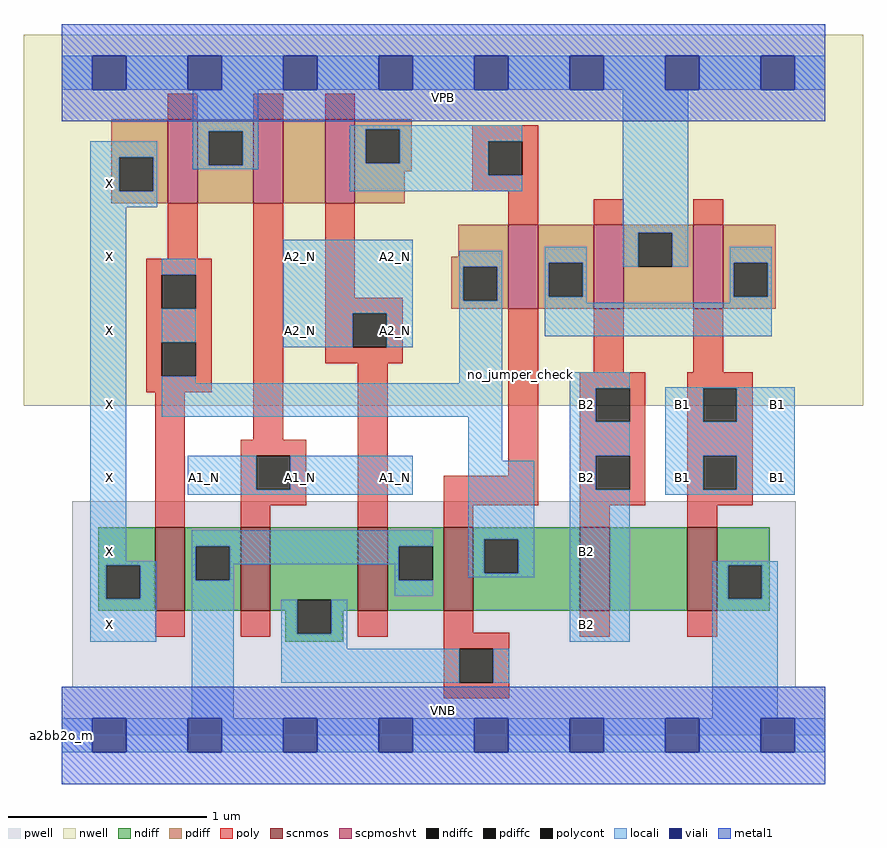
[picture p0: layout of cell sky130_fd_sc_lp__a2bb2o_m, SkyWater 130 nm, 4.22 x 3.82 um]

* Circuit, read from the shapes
.subckt sky130_fd_sc_lp__a2bb2o_m A1_N A2_N B1 B2 VGND VNB VPB VPWR X
XM1 VGND n1 X VNB sky130_fd_pr__nfet_01v8 w=0.42 l=0.15
XM2 n2 A1_N VGND VNB sky130_fd_pr__nfet_01v8 w=0.42 l=0.15
XM3 VGND A2_N n2 VNB sky130_fd_pr__nfet_01v8 w=0.42 l=0.15
XM4 n1 n2 VGND VNB sky130_fd_pr__nfet_01v8 w=0.42 l=0.15
XM5 n3 B2 n1 VNB sky130_fd_pr__nfet_01v8 w=0.42 l=0.15
XM6 VGND B1 n3 VNB sky130_fd_pr__nfet_01v8 w=0.42 l=0.15
XM7 VPWR n1 X VPB sky130_fd_pr__pfet_01v8_hvt w=0.42 l=0.15
XM8 n4 A1_N VPWR VPB sky130_fd_pr__pfet_01v8_hvt w=0.42 l=0.15
XM9 n2 A2_N n4 VPB sky130_fd_pr__pfet_01v8_hvt w=0.42 l=0.15
XM10 n5 n2 n1 VPB sky130_fd_pr__pfet_01v8_hvt w=0.42 l=0.15
XM11 VPWR B2 n5 VPB sky130_fd_pr__pfet_01v8_hvt w=0.42 l=0.15
XM12 n5 B1 VPWR VPB sky130_fd_pr__pfet_01v8_hvt w=0.42 l=0.15
.ends

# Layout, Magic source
magic
tech sky130A
magscale 1 2
<< nwell >>
rect -38 331 806 704
<< pwell >>
rect 11 49 738 235
rect 0 0 768 49
<< scnmos >>
rect 94 125 124 209
rect 180 125 210 209
rect 298 125 328 209
rect 384 125 414 209
rect 521 125 551 209
rect 629 125 659 209
<< scpmoshvt >>
rect 107 535 137 619
rect 193 535 223 619
rect 265 535 295 619
rect 449 429 479 513
rect 535 429 565 513
rect 635 429 665 513
<< ndiff >>
rect 37 171 94 209
rect 37 137 45 171
rect 79 137 94 171
rect 37 125 94 137
rect 124 190 180 209
rect 124 156 135 190
rect 169 156 180 190
rect 124 125 180 156
rect 210 136 298 209
rect 210 125 237 136
rect 225 102 237 125
rect 271 125 298 136
rect 328 190 384 209
rect 328 156 339 190
rect 373 156 384 190
rect 328 125 384 156
rect 414 197 521 209
rect 414 163 425 197
rect 459 163 521 197
rect 414 125 521 163
rect 551 125 629 209
rect 659 171 712 209
rect 659 137 670 171
rect 704 137 712 171
rect 659 125 712 137
rect 271 102 283 125
rect 225 94 283 102
<< pdiff >>
rect 50 581 107 619
rect 50 547 58 581
rect 92 547 107 581
rect 50 535 107 547
rect 137 607 193 619
rect 137 573 148 607
rect 182 573 193 607
rect 137 535 193 573
rect 223 535 265 619
rect 295 609 352 619
rect 295 575 306 609
rect 340 575 352 609
rect 295 567 352 575
rect 295 535 345 567
rect 399 481 449 513
rect 392 471 449 481
rect 392 437 404 471
rect 438 437 449 471
rect 392 429 449 437
rect 479 475 535 513
rect 479 441 490 475
rect 524 441 535 475
rect 479 429 535 441
rect 565 505 635 513
rect 565 471 580 505
rect 614 471 635 505
rect 565 429 635 471
rect 665 475 718 513
rect 665 441 676 475
rect 710 441 718 475
rect 665 429 718 441
<< ndiffc >>
rect 45 137 79 171
rect 135 156 169 190
rect 237 102 271 136
rect 339 156 373 190
rect 425 163 459 197
rect 670 137 704 171
<< pdiffc >>
rect 58 547 92 581
rect 148 573 182 607
rect 306 575 340 609
rect 404 437 438 471
rect 490 441 524 475
rect 580 471 614 505
rect 676 441 710 475
<< poly >>
rect 107 619 137 645
rect 193 619 223 645
rect 265 619 295 645
rect 413 597 479 613
rect 413 563 429 597
rect 463 563 479 597
rect 413 547 479 563
rect 107 479 137 535
rect 85 463 151 479
rect 85 429 101 463
rect 135 429 151 463
rect 85 395 151 429
rect 85 361 101 395
rect 135 361 151 395
rect 85 345 151 361
rect 94 209 124 345
rect 193 297 223 535
rect 265 440 295 535
rect 449 513 479 547
rect 535 513 565 539
rect 635 513 665 539
rect 265 424 343 440
rect 265 390 293 424
rect 327 390 343 424
rect 265 374 343 390
rect 180 281 246 297
rect 180 247 196 281
rect 230 247 246 281
rect 180 231 246 247
rect 180 209 210 231
rect 298 209 328 374
rect 449 261 479 429
rect 535 365 565 429
rect 635 365 665 429
rect 384 231 479 261
rect 521 349 587 365
rect 521 315 537 349
rect 571 315 587 349
rect 521 281 587 315
rect 521 247 537 281
rect 571 247 587 281
rect 521 231 587 247
rect 629 349 695 365
rect 629 315 645 349
rect 679 315 695 349
rect 629 281 695 315
rect 629 247 645 281
rect 679 247 695 281
rect 629 231 695 247
rect 384 209 414 231
rect 521 209 551 231
rect 629 209 659 231
rect 94 99 124 125
rect 180 99 210 125
rect 298 99 328 125
rect 384 103 414 125
rect 384 87 450 103
rect 521 99 551 125
rect 629 99 659 125
rect 384 53 400 87
rect 434 53 450 87
rect 384 37 450 53
<< polycont >>
rect 429 563 463 597
rect 101 429 135 463
rect 101 361 135 395
rect 293 390 327 424
rect 196 247 230 281
rect 537 315 571 349
rect 537 247 571 281
rect 645 315 679 349
rect 645 247 679 281
rect 400 53 434 87
<< locali >>
rect 0 649 31 683
rect 65 649 127 683
rect 161 649 223 683
rect 257 649 319 683
rect 353 649 415 683
rect 449 649 511 683
rect 545 649 607 683
rect 641 649 703 683
rect 737 649 768 683
rect 132 607 198 649
rect 29 581 96 597
rect 29 547 58 581
rect 92 547 96 581
rect 132 573 148 607
rect 182 573 198 607
rect 132 569 198 573
rect 290 609 463 613
rect 290 575 306 609
rect 340 597 463 609
rect 340 575 429 597
rect 290 563 429 575
rect 290 547 463 563
rect 29 531 96 547
rect 29 175 65 531
rect 564 505 630 649
rect 101 463 135 479
rect 101 395 135 429
rect 223 424 353 498
rect 223 390 293 424
rect 327 390 353 424
rect 400 471 443 487
rect 400 437 404 471
rect 438 437 443 471
rect 101 354 135 361
rect 400 354 443 437
rect 486 475 528 491
rect 486 441 490 475
rect 524 441 528 475
rect 564 471 580 505
rect 614 471 630 505
rect 672 475 714 491
rect 486 435 528 441
rect 672 441 676 475
rect 710 441 714 475
rect 672 435 714 441
rect 486 401 714 435
rect 101 320 443 354
rect 127 247 196 281
rect 230 247 353 281
rect 127 242 353 247
rect 409 276 443 320
rect 511 349 571 365
rect 511 315 537 349
rect 511 281 571 315
rect 131 190 373 206
rect 29 171 95 175
rect 29 137 45 171
rect 79 137 95 171
rect 29 94 95 137
rect 131 156 135 190
rect 169 172 339 190
rect 169 156 173 172
rect 131 17 173 156
rect 335 156 339 172
rect 409 197 475 276
rect 409 163 425 197
rect 459 163 475 197
rect 409 159 475 163
rect 511 247 537 281
rect 335 140 373 156
rect 221 102 237 136
rect 271 102 287 136
rect 221 87 287 102
rect 511 94 571 247
rect 607 349 737 350
rect 607 315 645 349
rect 679 315 737 349
rect 607 281 737 315
rect 607 247 645 281
rect 679 247 737 281
rect 607 242 737 247
rect 654 171 720 175
rect 654 137 670 171
rect 704 137 720 171
rect 221 53 400 87
rect 434 53 450 87
rect 654 17 720 137
rect 0 -17 31 17
rect 65 -17 127 17
rect 161 -17 223 17
rect 257 -17 319 17
rect 353 -17 415 17
rect 449 -17 511 17
rect 545 -17 607 17
rect 641 -17 703 17
rect 737 -17 768 17
<< viali >>
rect 31 649 65 683
rect 127 649 161 683
rect 223 649 257 683
rect 319 649 353 683
rect 415 649 449 683
rect 511 649 545 683
rect 607 649 641 683
rect 703 649 737 683
rect 31 -17 65 17
rect 127 -17 161 17
rect 223 -17 257 17
rect 319 -17 353 17
rect 415 -17 449 17
rect 511 -17 545 17
rect 607 -17 641 17
rect 703 -17 737 17
<< metal1 >>
rect 0 683 768 715
rect 0 649 31 683
rect 65 649 127 683
rect 161 649 223 683
rect 257 649 319 683
rect 353 649 415 683
rect 449 649 511 683
rect 545 649 607 683
rect 641 649 703 683
rect 737 649 768 683
rect 0 617 768 649
rect 0 17 768 49
rect 0 -17 31 17
rect 65 -17 127 17
rect 161 -17 223 17
rect 257 -17 319 17
rect 353 -17 415 17
rect 449 -17 511 17
rect 545 -17 607 17
rect 641 -17 703 17
rect 737 -17 768 17
rect 0 -49 768 -17
<< labels >>
flabel pwell s 0 0 768 49 0 FreeSans 200 0 0 0 VNB
port 6 nsew ground bidirectional
flabel nwell s 0 617 768 666 0 FreeSans 200 0 0 0 VPB
port 7 nsew power bidirectional
rlabel comment s 0 0 0 0 4 a2bb2o_m
flabel comment s 461 363 461 363 0 FreeSans 200 90 0 0 no_jumper_check
flabel metal1 s 0 617 768 666 0 FreeSans 340 0 0 0 VPWR
port 8 nsew power bidirectional
flabel metal1 s 0 0 768 49 0 FreeSans 340 0 0 0 VGND
port 5 nsew ground bidirectional
flabel locali s 127 242 161 276 0 FreeSans 340 0 0 0 A1_N
port 1 nsew signal input
flabel locali s 223 242 257 276 0 FreeSans 340 0 0 0 A1_N
port 1 nsew signal input
flabel locali s 319 242 353 276 0 FreeSans 340 0 0 0 A1_N
port 1 nsew signal input
flabel locali s 223 390 257 424 0 FreeSans 340 0 0 0 A2_N
port 2 nsew signal input
flabel locali s 223 464 257 498 0 FreeSans 340 0 0 0 A2_N
port 2 nsew signal input
flabel locali s 319 390 353 424 0 FreeSans 340 0 0 0 A2_N
port 2 nsew signal input
flabel locali s 319 464 353 498 0 FreeSans 340 0 0 0 A2_N
port 2 nsew signal input
flabel locali s 607 242 641 276 0 FreeSans 340 0 0 0 B1
port 3 nsew signal input
flabel locali s 607 316 641 350 0 FreeSans 340 0 0 0 B1
port 3 nsew signal input
flabel locali s 703 242 737 276 0 FreeSans 340 0 0 0 B1
port 3 nsew signal input
flabel locali s 703 316 737 350 0 FreeSans 340 0 0 0 B1
port 3 nsew signal input
flabel locali s 511 94 545 128 0 FreeSans 340 0 0 0 B2
port 4 nsew signal input
flabel locali s 511 168 545 202 0 FreeSans 340 0 0 0 B2
port 4 nsew signal input
flabel locali s 511 242 545 276 0 FreeSans 340 0 0 0 B2
port 4 nsew signal input
flabel locali s 511 316 545 350 0 FreeSans 340 0 0 0 B2
port 4 nsew signal input
flabel locali s 31 94 65 128 0 FreeSans 340 0 0 0 X
port 9 nsew signal output
flabel locali s 31 168 65 202 0 FreeSans 340 0 0 0 X
port 9 nsew signal output
flabel locali s 31 242 65 276 0 FreeSans 340 0 0 0 X
port 9 nsew signal output
flabel locali s 31 316 65 350 0 FreeSans 340 0 0 0 X
port 9 nsew signal output
flabel locali s 31 390 65 424 0 FreeSans 340 0 0 0 X
port 9 nsew signal output
flabel locali s 31 464 65 498 0 FreeSans 340 0 0 0 X
port 9 nsew signal output
flabel locali s 31 538 65 572 0 FreeSans 340 0 0 0 X
port 9 nsew signal output
<< properties >>
string LEFsite unit
string LEFclass CORE
string FIXED_BBOX 0 0 768 666
string GDS_FILE $PDKPATH/libs.ref/sky130_fd_sc_lp/gds/sky130_fd_sc_lp.gds
string LEFsymmetry X Y R90
string GDS_END 5860686
string GDS_START 5851702
<< end >>
